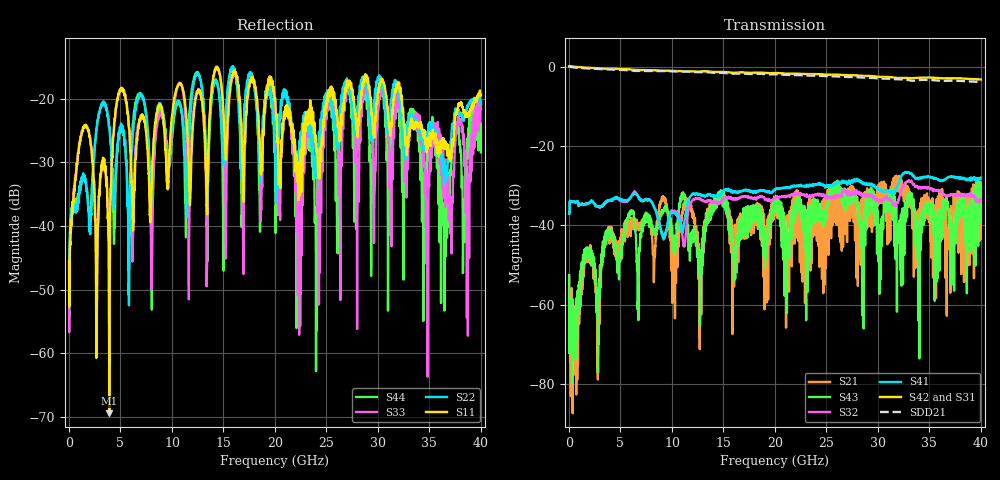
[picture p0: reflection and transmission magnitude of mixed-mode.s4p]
!Agilent Technologies,N5224A,MY51441484,A.10.20.03
!Agilent N5224A: A.10.20.03
!Date: Friday, January 19, 2018 16:04:23
!Correction: Sdd11(Full 4 Port(1,2,3,4))
!Sdc11(Full 4 Port(1,2,3,4))
!Sdd12(Full 4 Port(1,2,3,4))
!Sdc12(Full 4 Port(1,2,3,4))
!Scd11(Full 4 Port(1,2,3,4))
!Scc11(Full 4 Port(1,2,3,4))
!Scd12(Full 4 Port(1,2,3,4))
!Scc12(Full 4 Port(1,2,3,4))
!Sdd21(Full 4 Port(1,2,3,4))
!Sdc21(Full 4 Port(1,2,3,4))
!Sdd22(Full 4 Port(1,2,3,4))
!Sdc22(Full 4 Port(1,2,3,4))
!Scd21(Full 4 Port(1,2,3,4))
!Scc21(Full 4 Port(1,2,3,4))
!Scd22(Full 4 Port(1,2,3,4))
!Scc22(Full 4 Port(1,2,3,4))
!Balanced Topology: BBAL
!S4P File: Measurements: <Sdd11,Sdc11,Sdd12,Sdc12>,
!<Scd11,Scc11,Scd12,Scc12>,
!<Sdd21,Sdc21,Sdd22,Sdc22>,
!<Scd21,Scc21,Scd22,Scc22>:
# Hz S  dB  R 50
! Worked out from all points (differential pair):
!   4000 points, 10 MHz to 40 GHz, reference 50 ohm
!   strongest paths, dB at 10 MHz, 10.01 GHz, 20.01 GHz, 30.01 GHz, 40 GHz:
!     S42: 0.1, -1.0, -1.6, -2.5, -3.2
!     S31: 0.1, -1.0, -1.6, -2.5, -3.1
!     S41: -37.1, -36.7, -31.1, -30.8, -28.0
!     S32: -36.9, -36.3, -33.2, -33.7, -33.4
!     S43: -52.5, -40.2, -34.8, -38.4, -38.7
!     S21: -52.6, -47.6, -35.0, -33.2, -43.4
!   taken as a pair (ports 2,1 in; 4,3 out), SDD21 dB: 0.0, -1.2, -1.9, -3.0, -3.8
!   lowest |S11| = -69.4 dB at 3.91 GHz (marker M1), VSWR 1.00, Z = 50 - j0.0323 ohm
!   |S11| at or under -10 dB: start of sweep to end of sweep
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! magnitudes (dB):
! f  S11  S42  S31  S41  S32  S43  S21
! 10 MHz  -45.6  0.1  0.1  -37.1  -36.9  -52.5  -52.6
! 1.42 GHz  -24.5  -0.2  -0.2  -34.8  -34.8  -49.2  -48.9
! 3.91 GHz  -69.4  -0.5  -0.5  -33.7  -33.8  -41.9  -40.3
! 5.05 GHz  -18.3  -0.6  -0.7  -33.5  -33.7  -44.8  -43.3
! 30.98 GHz  -22.4  -2.6  -2.5  -31.5  -33.4  -33.4  -31.8
! 32.51 GHz  -24.1  -2.8  -2.8  -26.9  -29.9  -36.5  -33.8
! 40 GHz  -19.4  -3.2  -3.1  -28.0  -33.4  -38.7  -43.4
